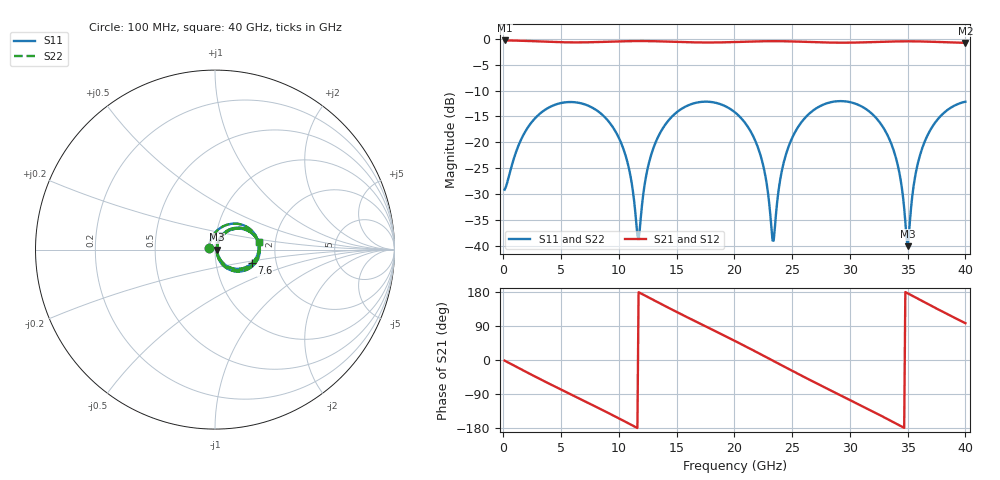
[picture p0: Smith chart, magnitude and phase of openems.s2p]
! thru_BV_ts_refinout2_in: 2×thru F.Cu, 8 mm
! stackup: as the board case
! ports: 1 near, 2 far
! openEMS 0.37.0, staircase, fine mesh (dfine 0.0175 mm), 2529450 cells
# Hz S RI R 50
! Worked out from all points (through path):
!   400 points, 100 MHz to 40 GHz, reference 50 ohm
!   highest |S21| = -0.30 dB at 100 MHz (marker M1); lowest = -0.8 dB at 40 GHz (marker M2)
!   group delay of S21, straight-line fit = 43.2 ps
!   lowest |S11| = -40.1 dB at 35 GHz (marker M3), VSWR 1.02, Z = 51 + j0.00548 ohm
!   |S11| at or under -10 dB: start of sweep to end of sweep
!   |S22| runs from -40.1 to -12.0 dB; largest |S21 - S12| = 0
!   S11 on the Smith chart (normalised r, x): 100 MHz: 0.93, +0.01; 7.6 GHz: 1.49, -0.24; 40 GHz: 1.64, +0.14
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1e8  -0.0339 0.00777  0.9652 -0.0272  0.9652 -0.0272  -0.0339 0.00777
2.7e9  0.0889 0.1434  0.693 -0.6477  0.693 -0.6477  0.0889 0.1434
6.8e9  0.2342 -0.0352  -0.2416 -0.8932  -0.2416 -0.8932  0.2342 -0.0352
7.6e9  0.2049 -0.0766  -0.4239 -0.8261  -0.4239 -0.8261  0.2049 -0.0766
1.04e10  0.0438 -0.0733  -0.8935 -0.3177  -0.8935 -0.3177  0.0438 -0.0733
1.11e10  0.0193 -0.0357  -0.9411 -0.14  -0.9411 -0.14  0.0193 -0.0357
1.17e10  0.0113 0.00214  -0.9525 0.0185  -0.9525 0.0185  0.0113 0.00214
1.24e10  0.0185 0.0467  -0.9302 0.2027  -0.9302 0.2027  0.0185 0.0467
1.34e10  0.0566 0.0981  -0.8351 0.4477  -0.8351 0.4477  0.0566 0.0981
1.68e10  0.2374 0.0494  -0.1501 0.9118  -0.1501 0.9118  0.2374 0.0494
2.01e10  0.1558 -0.113  0.6073 0.7078  0.6073 0.7078  0.1558 -0.113
2.23e10  0.0311 -0.065  0.9164 0.2424  0.9164 0.2424  0.0311 -0.065
2.34e10  0.0106 0.00333  0.9494 -0.0467  0.9494 -0.0467  0.0106 0.00333
2.44e10  0.0298 0.0657  0.8973 -0.3067  0.8973 -0.3067  0.0298 0.0657
2.67e10  0.1614 0.1152  0.532 -0.7645  0.532 -0.7645  0.1614 0.1152
3e10  0.2387 -0.0523  -0.2442 -0.8864  -0.2442 -0.8864  0.2387 -0.0523
3.34e10  0.0527 -0.0945  -0.8745 -0.3499  -0.8745 -0.3499  0.0527 -0.0945
3.44e10  0.0157 -0.0398  -0.9419 -0.0945  -0.9419 -0.0945  0.0157 -0.0398
3.5e10  0.00986 5.38e-05  -0.9452 0.0657  -0.9452 0.0657  0.00986 5.38e-05
3.56e10  0.0176 0.0396  -0.9197 0.2241  -0.9197 0.2241  0.0176 0.0396
3.64e10  0.0473 0.0841  -0.8431 0.4222  -0.8431 0.4222  0.0473 0.0841
4e10  0.2435 0.0401  -0.1131 0.9087  -0.1131 0.9087  0.2435 0.0401
